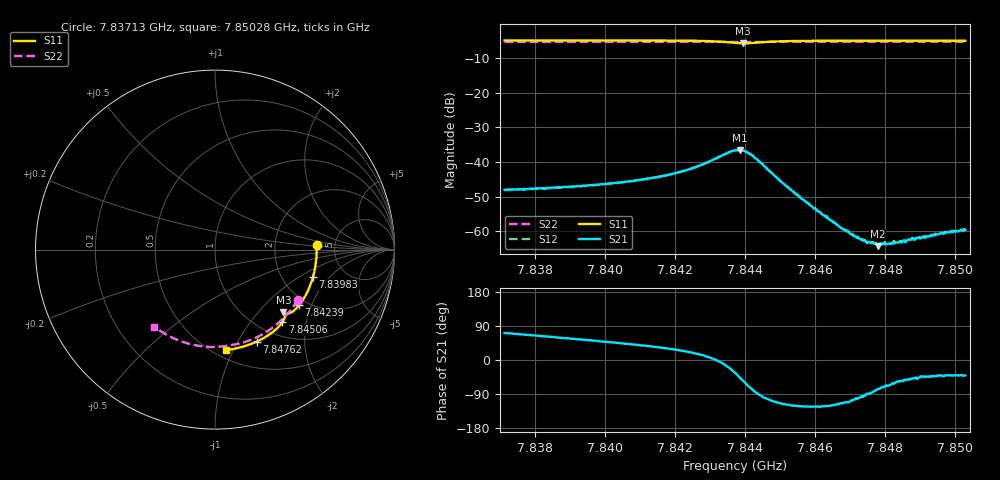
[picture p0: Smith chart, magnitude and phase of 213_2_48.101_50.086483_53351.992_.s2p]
#  HZ  S  RI  R  50.00
! Rohde & Schwarz Vector Network Analyzer
! Rohde-Schwarz,ZNB20-2Port,1311601062101988,3.16
! Created: UTC 12/23/2023, 3:55:59 AM
! freq[Hz]  re:S11  im:S11  re:S21  im:S21  re:S12  im:S12  re:S22  im:S22
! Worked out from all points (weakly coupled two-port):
!   401 points, 7.83713 GHz to 7.85028 GHz, reference 50 ohm
!   highest |S21| = -36.54 dB at 7.84384 GHz (marker M1); lowest = -64.3 dB at 7.84778 GHz (marker M2)
!   lowest |S11| = -5.8 dB at 7.84394 GHz (marker M3), VSWR 3.13, Z = 72.8 - j69 ohm
!   |S11| at or under -10 dB: nowhere
!   |S22| runs from -5.4 to -5.3 dB; largest |S21 - S12| = 0.00033
!   S11 on the Smith chart (normalised r, x): 7.83713 GHz: 3.59, +0.29; 7.83983 GHz: 2.97, -1.32; 7.84239 GHz: 1.80, -1.64; 7.84506 GHz: 1.25, -1.46; 7.84762 GHz: 0.80, -1.21; 7.85028 GHz: 0.57, -0.94
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7.837133e9  0.5656 0.0271  0.00127 0.00374  0.00129 0.0037  0.4624 -0.278
7.839336e9  0.5542 -0.1189  0.00267 0.00364  0.00261 0.0036  0.3659 -0.3977
7.839829e9  0.5465 -0.1511  0.00305 0.00358  0.00304 0.00354  0.3397 -0.4205
7.841538e9  0.5026 -0.2594  0.00512 0.00335  0.00507 0.00339  0.2391 -0.4855
7.842393e9  0.4686 -0.3108  0.0073 0.00283  0.00725 0.00286  0.1839 -0.5091
7.843215e9  0.42 -0.3524  0.0114 -0.000401  0.0116 -0.000336  0.1283 -0.5251
7.843708e9  0.3852 -0.3545  0.0122 -0.00807  0.0123 -0.00812  0.0952 -0.5305
7.84384e9  0.3811 -0.3504  0.0104 -0.0107  0.0104 -0.0105  0.0868 -0.5318
7.843938e9  0.381 -0.3477  0.00852 -0.0119  0.00851 -0.0117  0.0808 -0.5329
7.844267e9  0.3892 -0.353  0.00141 -0.0115  0.00144 -0.0115  0.0597 -0.5369
7.845056e9  0.3753 -0.4051  -0.00218 -0.00456  -0.00217 -0.00461  0.00459 -0.5427
7.845911e9  0.3331 -0.45  -0.00123 -0.00188  -0.00123 -0.00193  -0.0558 -0.5408
7.846667e9  0.2906 -0.481  -0.000547 -0.00106  -0.000552 -0.00104  -0.1084 -0.5332
7.847061e9  0.2675 -0.4947  -0.000256 -0.000832  -0.00024 -0.000889  -0.1354 -0.5273
7.847489e9  0.2418 -0.508  1.02e-05 -0.000696  -1.08e-05 -0.000667  -0.1643 -0.5193
7.84762e9  0.2337 -0.5121  5.5e-05 -0.000682  5.2e-05 -0.000695  -0.1733 -0.5165
7.847785e9  0.2238 -0.5166  0.000143 -0.000591  0.000156 -0.000646  -0.1841 -0.5127
7.848113e9  0.2033 -0.5251  0.000259 -0.000602  0.000288 -0.000608  -0.2059 -0.5046
7.848705e9  0.1659 -0.538  0.000459 -0.000588  0.000469 -0.000594  -0.2436 -0.4878
7.848869e9  0.1553 -0.5412  0.000545 -0.00056  0.000532 -0.000571  -0.2539 -0.4827
7.849823e9  0.0933 -0.5548  0.000733 -0.000626  0.00073 -0.000701  -0.3114 -0.4485
7.850283e9  0.0632 -0.5588  0.000792 -0.000681  0.000786 -0.000702  -0.3374 -0.4294
